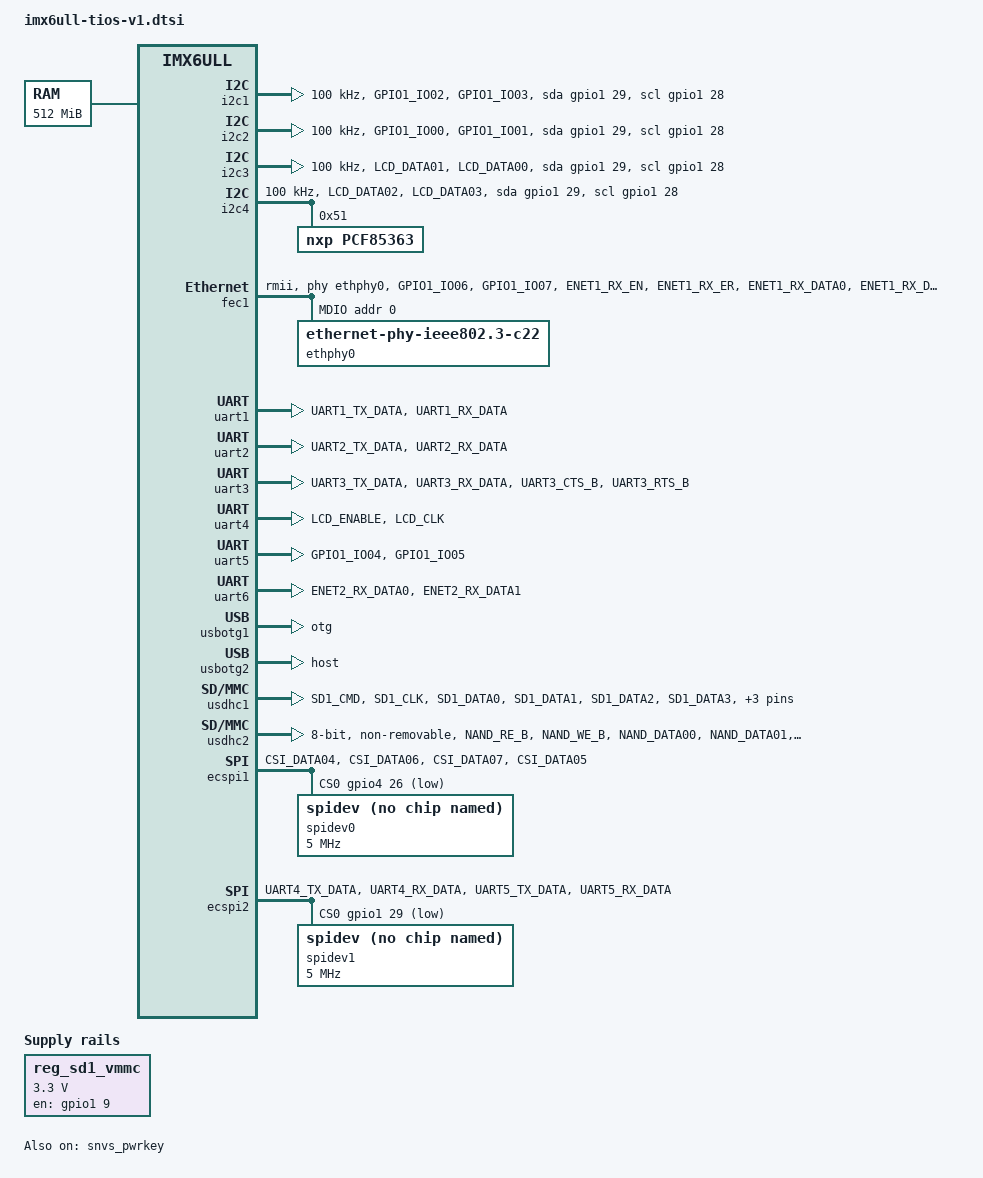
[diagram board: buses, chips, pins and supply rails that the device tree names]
// SPDX-License-Identifier: GPL-2.0
/*
 * Copyright (C) 2022 IO Stuff
 * Author: Michiel
 */

#include "imx6ull.dtsi"

/ {
	chosen {
		stdout-path = &uart1;
	};

	memory@80000000 {
		device_type = "memory";
		reg = <0x80000000 0x20000000>;
	};

	reg_sd1_vmmc: regulator-sd1-vmmc {
		compatible = "regulator-fixed";
		regulator-name = "VSD_3V3";
		regulator-min-microvolt = <3300000>;
		regulator-max-microvolt = <3300000>;
		gpio = <&gpio1 9 GPIO_ACTIVE_HIGH>;
		off-on-delay-us = <20000>;
		enable-active-high;
	};
};
/* I2C */
&i2c1 {
	clock-frequency = <100000>;				// Not sure if needed to specify
	pinctrl-names = "default", "gpio";
	pinctrl-0 = <&pinctrl_i2c1>;
	pinctrl-1 = <&pinctrl_i2c1_gpio>;   // second iomux group
	sda-gpios = <&gpio1 29 (GPIO_ACTIVE_HIGH | GPIO_OPEN_DRAIN)>;
	scl-gpios = <&gpio1 28 (GPIO_ACTIVE_HIGH | GPIO_OPEN_DRAIN)>;
	status = "okay";
};
&i2c2 {	
	clock-frequency = <100000>;				// Not sure if needed to specify
	pinctrl-names = "default", "gpio";
	pinctrl-0 = <&pinctrl_i2c2>;
	pinctrl-1 = <&pinctrl_i2c2_gpio>;   // second iomux group
	sda-gpios = <&gpio1 29 (GPIO_ACTIVE_HIGH | GPIO_OPEN_DRAIN)>;
	scl-gpios = <&gpio1 28 (GPIO_ACTIVE_HIGH | GPIO_OPEN_DRAIN)>;
	status = "okay";
};
&i2c3 {
	clock-frequency = <100000>;				// Not sure if needed to specify
	pinctrl-names = "default", "gpio";
	pinctrl-0 = <&pinctrl_i2c3>;
	pinctrl-1 = <&pinctrl_i2c3_gpio>;   // second iomux group
	sda-gpios = <&gpio1 29 (GPIO_ACTIVE_HIGH | GPIO_OPEN_DRAIN)>;
	scl-gpios = <&gpio1 28 (GPIO_ACTIVE_HIGH | GPIO_OPEN_DRAIN)>;
	status = "okay";
};
&i2c4 {
	clock-frequency = <100000>;				// Not sure if needed to specify
	pinctrl-names = "default", "gpio";
	pinctrl-0 = <&pinctrl_i2c4>;	
	pinctrl-1 = <&pinctrl_i2c4_gpio>;   // second iomux group
	sda-gpios = <&gpio1 29 (GPIO_ACTIVE_HIGH | GPIO_OPEN_DRAIN)>;
	scl-gpios = <&gpio1 28 (GPIO_ACTIVE_HIGH | GPIO_OPEN_DRAIN)>;
	status = "okay";
	
	/* RTC */
	pcf85363: pcf85363@51 {
		compatible = "nxp,pcf85363";
		reg = <0x51>;
	};
};
/* ethernet */
&fec1 {
	pinctrl-names = "default";
	pinctrl-0 = <&pinctrl_enet1
							 &pinctrl_fec1_reset>;
	phy-mode = "rmii";
	phy-handle = <&ethphy0>;
	phy-reset-gpios = <&gpio5 6 GPIO_ACTIVE_LOW>;
	phy-reset-duration = <26>;
	status = "okay";

	mdio {
		#address-cells = <1>;
		#size-cells = <0>;

		ethphy0: ethernet-phy@0 {
			compatible = "ethernet-phy-ieee802.3-c22";
			reg = <0>;
			clocks = <&clks IMX6UL_CLK_ENET_REF>;
			clock-names = "rmii-ref";
		};
	};
};

&fec2 {
	status = "disabled";
};
/* UART */
&uart1 {
	pinctrl-names = "default";
	pinctrl-0 = <&pinctrl_uart1>;
	status = "okay";
};

&uart2 {
	pinctrl-names = "default";
	pinctrl-0 = <&pinctrl_uart2>;
	status = "okay";
};
&uart3 {
	pinctrl-names = "default";
	pinctrl-0 = <&pinctrl_uart3>;
	uart-has-rtscts;
	status = "okay";
	
};
&uart4 {
	pinctrl-names = "default";
	pinctrl-0 = <&pinctrl_uart4>;
	status = "okay";
};
&uart5 {
	pinctrl-names = "default";
	pinctrl-0 = <&pinctrl_uart5>;
	status = "okay";
};
&uart6 {
	pinctrl-names = "default";
	pinctrl-0 = <&pinctrl_uart6>;
	status = "okay";
};

/* USB */
&usbotg1 {
	dr_mode = "otg";
	pinctrl-names = "default";
	//pinctrl-0 = <&pinctrl_usb_otg1>;
	status = "okay";
};

&usbotg2 {
	dr_mode = "host";
	disable-over-current;
	status = "okay";
};

&usbphy1 {
	fsl,tx-d-cal = <106>;
};

&usbphy2 {
	fsl,tx-d-cal = <106>;
};

/* USDHC */
&usdhc1 {
	pinctrl-names = "default", "state_100mhz", "state_200mhz";
	pinctrl-0 = <&pinctrl_usdhc1>;
	pinctrl-1 = <&pinctrl_usdhc1_100mhz>;
	pinctrl-2 = <&pinctrl_usdhc1_200mhz>;
	cd-gpios = <&gpio1 19 GPIO_ACTIVE_LOW>;
	keep-power-in-suspend;
	wakeup-source;
	status = "okay";
};

&usdhc2 {
	pinctrl-names = "default", "state_100mhz", "state_200mhz";
	pinctrl-0 = <&pinctrl_usdhc2_8bit>;
	pinctrl-1 = <&pinctrl_usdhc2_8bit_100mhz>;
	pinctrl-2 = <&pinctrl_usdhc2_8bit_200mhz>;
	bus-width = <8>;
	no-1-8-v;
	broken-cd;
	keep-power-in-suspend;
	non-removable;
	wakeup-source;
	status = "okay";
};

/* SPI */
&ecspi1 {
	pinctrl-names = "default";
	pinctrl-0 = <&pinctrl_ecspi1>;
	cs-gpios = <&gpio4 26 GPIO_ACTIVE_LOW>;
	status = "okay";

	spidev0: spi@0 {
		compatible = "spidev";
		reg = <0>;
		spi-max-frequency = <5000000>;
	};
};
&ecspi2 {
	pinctrl-names = "default";
	pinctrl-0 = <&pinctrl_ecspi2>;
	cs-gpios = <&gpio1 29 GPIO_ACTIVE_LOW>;
	status = "okay";

	spidev1: spi@0 {
		compatible = "spidev";
		reg = <0>;
		spi-max-frequency = <5000000>;
	};
};

/* Other */
&sdma {
	status = "okay";
};

&snvs_poweroff {
	status = "okay";
};
&snvs_pwrkey {
	status = "okay";
};


/* IO MUXING */
&iomuxc {
	pinctrl-names = "default";
	pinctrl-0 = <&pinctrl_gpios>;
	
	/* GPIO */
	pinctrl_gpios: gpios-grp {
		fsl,pins = <
			MX6UL_PAD_SNVS_TAMPER0__GPIO5_IO00 	0x0b0b0
			MX6UL_PAD_SNVS_TAMPER1__GPIO5_IO01 	0x0b0b0
			MX6UL_PAD_SNVS_TAMPER2__GPIO5_IO02 	0x0b0b0
			MX6UL_PAD_SNVS_TAMPER3__GPIO5_IO03 	0x0b0b0
			MX6UL_PAD_SNVS_TAMPER4__GPIO5_IO04 	0x0b0b0
			MX6UL_PAD_SNVS_TAMPER5__GPIO5_IO05 	0x0b0b0
			MX6UL_PAD_SNVS_TAMPER6__GPIO5_IO06 	0x0b0b0
			MX6UL_PAD_SNVS_TAMPER7__GPIO5_IO07  0x0b0b0
			MX6UL_PAD_SNVS_TAMPER8__GPIO5_IO08  0x0b0b0
		>;
	};
	/* Ethernet */
	pinctrl_enet1: enet1grp {
		fsl,pins = <
			MX6UL_PAD_GPIO1_IO06__ENET1_MDIO		0x1b0b0
			MX6UL_PAD_GPIO1_IO07__ENET1_MDC			0x1b0b0
			MX6UL_PAD_ENET1_RX_EN__ENET1_RX_EN		0x1b0b0
			MX6UL_PAD_ENET1_RX_ER__ENET1_RX_ER		0x1b0b0
			MX6UL_PAD_ENET1_RX_DATA0__ENET1_RDATA00	0x1b0b0
			MX6UL_PAD_ENET1_RX_DATA1__ENET1_RDATA01	0x1b0b0
			MX6UL_PAD_ENET1_TX_EN__ENET1_TX_EN		0x1b0b0
			MX6UL_PAD_ENET1_TX_DATA0__ENET1_TDATA00	0x1b0b0
			MX6UL_PAD_ENET1_TX_DATA1__ENET1_TDATA01	0x1b0b0
			MX6UL_PAD_ENET1_TX_CLK__ENET1_REF_CLK1	0x4001b031
		>;
	};
	
	pinctrl_fec1_reset: fec1_resetgrp {
		fsl,pins = <
			MX6UL_PAD_SNVS_TAMPER9__GPIO5_IO09 0x79
		>;
	};
	/* I2C */
	pinctrl_i2c1: i2c1grp {
		fsl,pins = <
			MX6UL_PAD_GPIO1_IO02__I2C1_SCL 0x4001b8b0
			MX6UL_PAD_GPIO1_IO03__I2C1_SDA 0x4001b8b0
		>;
	};
	pinctrl_i2c1_gpio: i2c1grio {
		fsl,pins = <
			MX6UL_PAD_GPIO1_IO02__GPIO1_IO02 0x4001b8b0
			MX6UL_PAD_GPIO1_IO03__GPIO1_IO03 0x4001b8b0
		>;
	};
	
	pinctrl_i2c2: i2c2grp {
		fsl,pins = <
			MX6UL_PAD_GPIO1_IO00__I2C2_SCL 0x4001b8b0
			MX6UL_PAD_GPIO1_IO01__I2C2_SDA 0x4001b8b0
		>;
	};
	pinctrl_i2c2_gpio: i2c2grio {
		fsl,pins = <
			MX6UL_PAD_GPIO1_IO00__GPIO1_IO00 0x4001b8b0
			MX6UL_PAD_GPIO1_IO01__GPIO1_IO01 0x4001b8b0
		>;
	};
	
	pinctrl_i2c3: i2c3grp {
		fsl,pins = <
			MX6UL_PAD_LCD_DATA01__I2C3_SCL 0x4001b8b0
			MX6UL_PAD_LCD_DATA00__I2C3_SDA 0x4001b8b0
		>;
	};
	pinctrl_i2c3_gpio: i2c3grio {
		fsl,pins = <
			MX6UL_PAD_LCD_DATA01__GPIO3_IO06 0x4001b8b0
			MX6UL_PAD_LCD_DATA00__GPIO3_IO05 0x4001b8b0
		>;
	}; 
	
	pinctrl_i2c4: i2c4grp {
		fsl,pins = <
			MX6UL_PAD_LCD_DATA02__I2C4_SDA 0x4001b8b0
			MX6UL_PAD_LCD_DATA03__I2C4_SCL 0x4001b8b0
		>;
	};
	pinctrl_i2c4_gpio: i2c4grio {
		fsl,pins = <
			MX6UL_PAD_LCD_DATA02__GPIO3_IO07 0x4001b8b0
			MX6UL_PAD_LCD_DATA03__GPIO3_IO08 0x4001b8b0
		>;
	};
	
	/* SPI */
	pinctrl_ecspi1: spi1grp {
		fsl,pins = <
			MX6UL_PAD_CSI_DATA04__ECSPI1_SCLK	0x000a0
			MX6UL_PAD_CSI_DATA06__ECSPI1_MOSI	0x000a0
			MX6UL_PAD_CSI_DATA07__ECSPI1_MISO	0x100a0
			MX6UL_PAD_CSI_DATA05__GPIO4_IO26	0x1b0b0
		>;
	};
	pinctrl_ecspi2: sp2grp {
		fsl,pins = <
			MX6UL_PAD_UART4_TX_DATA__ECSPI2_SCLK 0x000a0
			MX6UL_PAD_UART4_RX_DATA__GPIO1_IO29	 0x1b0b0
			MX6UL_PAD_UART5_TX_DATA__ECSPI2_MOSI 0x000a0	
			MX6UL_PAD_UART5_RX_DATA__ECSPI2_MISO 0x100a0
		>;
	};		
	pinctrl_ecspi4: spi4grp {
		fsl,pins = <
			MX6UL_PAD_ENET2_TX_DATA1__ECSPI4_SCLK	0x000a0
			MX6UL_PAD_ENET2_TX_EN__ECSPI4_MOSI		0x000a0
			MX6UL_PAD_ENET2_TX_CLK__ECSPI4_MISO		0x100a0
			MX6UL_PAD_ENET2_RX_ER__GPIO2_IO15		0x1b0b0
		>;
	};

	/* UART */
	pinctrl_uart1: uart1grp {
		fsl,pins = <
			MX6UL_PAD_UART1_TX_DATA__UART1_DCE_TX 0x1b0b1
			MX6UL_PAD_UART1_RX_DATA__UART1_DCE_RX 0x1b0b1
		>;
	};

	pinctrl_uart2: uart2grp {
		fsl,pins = <
			MX6UL_PAD_UART2_TX_DATA__UART2_DCE_TX	0x1b0b1
			MX6UL_PAD_UART2_RX_DATA__UART2_DCE_RX	0x1b0b1
		>;
	};
	pinctrl_uart3: uart3grp {
		fsl,pins = <
			MX6UL_PAD_UART3_TX_DATA__UART3_DCE_TX	0x1b0b1
			MX6UL_PAD_UART3_RX_DATA__UART3_DCE_RX	0x1b0b1
			MX6UL_PAD_UART3_CTS_B__UART3_DCE_CTS	0x1b0b1
			MX6UL_PAD_UART3_RTS_B__UART3_DCE_RTS	0x1b0b1
		>;
	};
	pinctrl_uart4: uart4grp {
		fsl,pins = <
			MX6UL_PAD_LCD_ENABLE__UART4_DCE_RX		0x1b0b1
			MX6UL_PAD_LCD_CLK__UART4_DCE_TX			0x1b0b1
		>;
	};
	pinctrl_uart5: uart5grp {
		fsl,pins = <
			MX6UL_PAD_GPIO1_IO04__UART5_DCE_TX		0x1b0b1
			MX6UL_PAD_GPIO1_IO05__UART5_DCE_RX		0x1b0b1
		>;
	};
	pinctrl_uart6: uart6grp {
		fsl,pins = <
			MX6UL_PAD_ENET2_RX_DATA0__UART6_DCE_TX	0x1b0b1
			MX6UL_PAD_ENET2_RX_DATA1__UART6_DCE_RX	0x1b0b1
		>;
	};
	/* USB */
/*	pinctrl_usb_otg1: usbotg1grp {
		fsl,pins = <
			MX6UL_PAD_GPIO1_IO00__ANATOP_OTG1_ID	0x17059
		>;
	};*/
	/* USDHC */
	pinctrl_usdhc1: usdhc1grp {
		fsl,pins = <
			MX6UL_PAD_SD1_CMD__USDHC1_CMD     		0x17059
			MX6UL_PAD_SD1_CLK__USDHC1_CLK			0x10071
			MX6UL_PAD_SD1_DATA0__USDHC1_DATA0 		0x17059
			MX6UL_PAD_SD1_DATA1__USDHC1_DATA1 		0x17059
			MX6UL_PAD_SD1_DATA2__USDHC1_DATA2 		0x17059
			MX6UL_PAD_SD1_DATA3__USDHC1_DATA3 		0x17059
			MX6UL_PAD_UART1_RTS_B__GPIO1_IO19       0x17059 /* SD1 CD */
			//MX6UL_PAD_GPIO1_IO05__USDHC1_VSELECT    0x17059 /* SD1 VSELECT */
			MX6UL_PAD_GPIO1_IO09__GPIO1_IO09        0x17059 /* SD1 RESET */
		>;
	};

	pinctrl_usdhc1_100mhz: usdhc1grp100mhz {
		fsl,pins = <
			MX6UL_PAD_SD1_CMD__USDHC1_CMD     0x170b9
			MX6UL_PAD_SD1_CLK__USDHC1_CLK     0x100b9
			MX6UL_PAD_SD1_DATA0__USDHC1_DATA0 0x170b9
			MX6UL_PAD_SD1_DATA1__USDHC1_DATA1 0x170b9
			MX6UL_PAD_SD1_DATA2__USDHC1_DATA2 0x170b9
			MX6UL_PAD_SD1_DATA3__USDHC1_DATA3 0x170b9

		>;
	};

	pinctrl_usdhc1_200mhz: usdhc1grp200mhz {
		fsl,pins = <
			MX6UL_PAD_SD1_CMD__USDHC1_CMD     0x170f9
			MX6UL_PAD_SD1_CLK__USDHC1_CLK     0x100f9
			MX6UL_PAD_SD1_DATA0__USDHC1_DATA0 0x170f9
			MX6UL_PAD_SD1_DATA1__USDHC1_DATA1 0x170f9
			MX6UL_PAD_SD1_DATA2__USDHC1_DATA2 0x170f9
			MX6UL_PAD_SD1_DATA3__USDHC1_DATA3 0x170f9
		>;
	};

	pinctrl_usdhc2: usdhc2grp {
		fsl,pins = <
			MX6UL_PAD_NAND_RE_B__USDHC2_CLK     0x17059
			MX6UL_PAD_NAND_WE_B__USDHC2_CMD     0x17059
			MX6UL_PAD_NAND_DATA00__USDHC2_DATA0 0x17059
			MX6UL_PAD_NAND_DATA01__USDHC2_DATA1 0x17059
			MX6UL_PAD_NAND_DATA02__USDHC2_DATA2 0x17059
			MX6UL_PAD_NAND_DATA03__USDHC2_DATA3 0x17059
		>;
	};

	pinctrl_usdhc2_8bit: usdhc2grp_8bit {
		fsl,pins = <
			MX6UL_PAD_NAND_RE_B__USDHC2_CLK     0x10069
			MX6UL_PAD_NAND_WE_B__USDHC2_CMD     0x17059
			MX6UL_PAD_NAND_DATA00__USDHC2_DATA0 0x17059
			MX6UL_PAD_NAND_DATA01__USDHC2_DATA1 0x17059
			MX6UL_PAD_NAND_DATA02__USDHC2_DATA2 0x17059
			MX6UL_PAD_NAND_DATA03__USDHC2_DATA3 0x17059
			MX6UL_PAD_NAND_DATA04__USDHC2_DATA4 0x17059
			MX6UL_PAD_NAND_DATA05__USDHC2_DATA5 0x17059
			MX6UL_PAD_NAND_DATA06__USDHC2_DATA6 0x17059
			MX6UL_PAD_NAND_DATA07__USDHC2_DATA7 0x17059
		>;
	};

	pinctrl_usdhc2_8bit_100mhz: usdhc2grp_8bit_100mhz {
		fsl,pins = <
			MX6UL_PAD_NAND_RE_B__USDHC2_CLK     0x100b9
			MX6UL_PAD_NAND_WE_B__USDHC2_CMD     0x170b9
			MX6UL_PAD_NAND_DATA00__USDHC2_DATA0 0x170b9
			MX6UL_PAD_NAND_DATA01__USDHC2_DATA1 0x170b9
			MX6UL_PAD_NAND_DATA02__USDHC2_DATA2 0x170b9
			MX6UL_PAD_NAND_DATA03__USDHC2_DATA3 0x170b9
			MX6UL_PAD_NAND_DATA04__USDHC2_DATA4 0x170b9
			MX6UL_PAD_NAND_DATA05__USDHC2_DATA5 0x170b9
			MX6UL_PAD_NAND_DATA06__USDHC2_DATA6 0x170b9
			MX6UL_PAD_NAND_DATA07__USDHC2_DATA7 0x170b9
		>;
	};

	pinctrl_usdhc2_8bit_200mhz: usdhc2grp_8bit_200mhz {
		fsl,pins = <
			MX6UL_PAD_NAND_RE_B__USDHC2_CLK     0x100f9
			MX6UL_PAD_NAND_WE_B__USDHC2_CMD     0x170f9
			MX6UL_PAD_NAND_DATA00__USDHC2_DATA0 0x170f9
			MX6UL_PAD_NAND_DATA01__USDHC2_DATA1 0x170f9
			MX6UL_PAD_NAND_DATA02__USDHC2_DATA2 0x170f9
			MX6UL_PAD_NAND_DATA03__USDHC2_DATA3 0x170f9
			MX6UL_PAD_NAND_DATA04__USDHC2_DATA4 0x170f9
			MX6UL_PAD_NAND_DATA05__USDHC2_DATA5 0x170f9
			MX6UL_PAD_NAND_DATA06__USDHC2_DATA6 0x170f9
			MX6UL_PAD_NAND_DATA07__USDHC2_DATA7 0x170f9
		>;
	};
};

